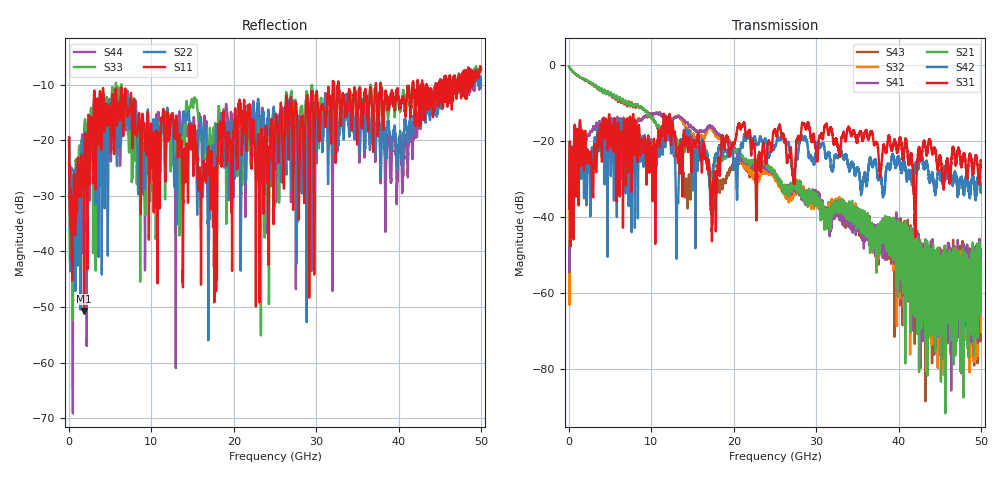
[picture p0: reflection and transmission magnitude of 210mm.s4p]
!Agilent Technologies,N5245A,MY51251349,A.09.33.09
!Agilent N5245A: A.09.33.09
!Date: Tuesday, September 29, 2020 17:17:00
!Correction: S11(Full 4 Port(1,2,3,4))
!S12(Full 4 Port(1,2,3,4))
!S13(Full 4 Port(1,2,3,4))
!S14(Full 4 Port(1,2,3,4))
!S21(Full 4 Port(1,2,3,4))
!S22(Full 4 Port(1,2,3,4))
!S23(Full 4 Port(1,2,3,4))
!S24(Full 4 Port(1,2,3,4))
!S31(Full 4 Port(1,2,3,4))
!S32(Full 4 Port(1,2,3,4))
!S33(Full 4 Port(1,2,3,4))
!S34(Full 4 Port(1,2,3,4))
!S41(Full 4 Port(1,2,3,4))
!S42(Full 4 Port(1,2,3,4))
!S43(Full 4 Port(1,2,3,4))
!S44(Full 4 Port(1,2,3,4))
!S4P File: Measurements: <S11,S12,S13,S14>,
!<S21,S22,S23,S24>,
!<S31,S32,S33,S34>,
!<S41,S42,S43,S44>:
# Hz S  dB  R 50
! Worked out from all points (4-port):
!   6401 points, 10 MHz to 50 GHz, reference 50 ohm
!   strongest paths, dB at 10 MHz, 12.51 GHz, 25 GHz, 37.5 GHz, 50 GHz:
!     S31: -37.7, -15.4, -17.0, -21.8, -25.1
!     S42: -34.8, -18.5, -21.2, -29.6, -32.4
!     S21: -0.3, -17.5, -28.4, -45.7, -52.9
!     S41: -51.7, -14.3, -29.0, -46.1, -54.8
!     S32: -37.7, -14.3, -29.5, -44.4, -70.2
!     S43: -0.4, -19.7, -28.9, -46.5, -57.0
!   lowest |S11| = -50.7 dB at 1.814 GHz (marker M1), VSWR 1.01, Z = 49.8 - j0.155 ohm
!   |S11| at or under -10 dB: start of sweep to 32.02 GHz; 32.73 GHz to 37.24 GHz (4.504 GHz wide, 12.9 % of centre); 37.82 GHz to 41.75 GHz (3.925 GHz wide, 9.87 % of centre)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
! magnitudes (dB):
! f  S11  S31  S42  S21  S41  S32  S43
! 10 MHz  -19.4  -37.7  -34.8  -0.3  -51.7  -37.7  -0.4
! 1.814 GHz  -50.7  -27.7  -34.6  -3.5  -19.8  -19.8  -3.7
! 12.05 GHz  -18.2  -18.1  -19.3  -17.2  -13.9  -14.1  -18.5
! 13.12 GHz  -18.1  -23.5  -36.4  -19.6  -13.6  -13.5  -20.7
! 17.15 GHz  -32.5  -32.3  -34.9  -28.6  -16.0  -16.5  -34.1
! 21.12 GHz  -16.8  -16.0  -21.0  -24.1  -24.6  -25.6  -26.0
! 50 GHz  -7.1  -25.1  -32.4  -52.9  -54.8  -70.2  -57.0
